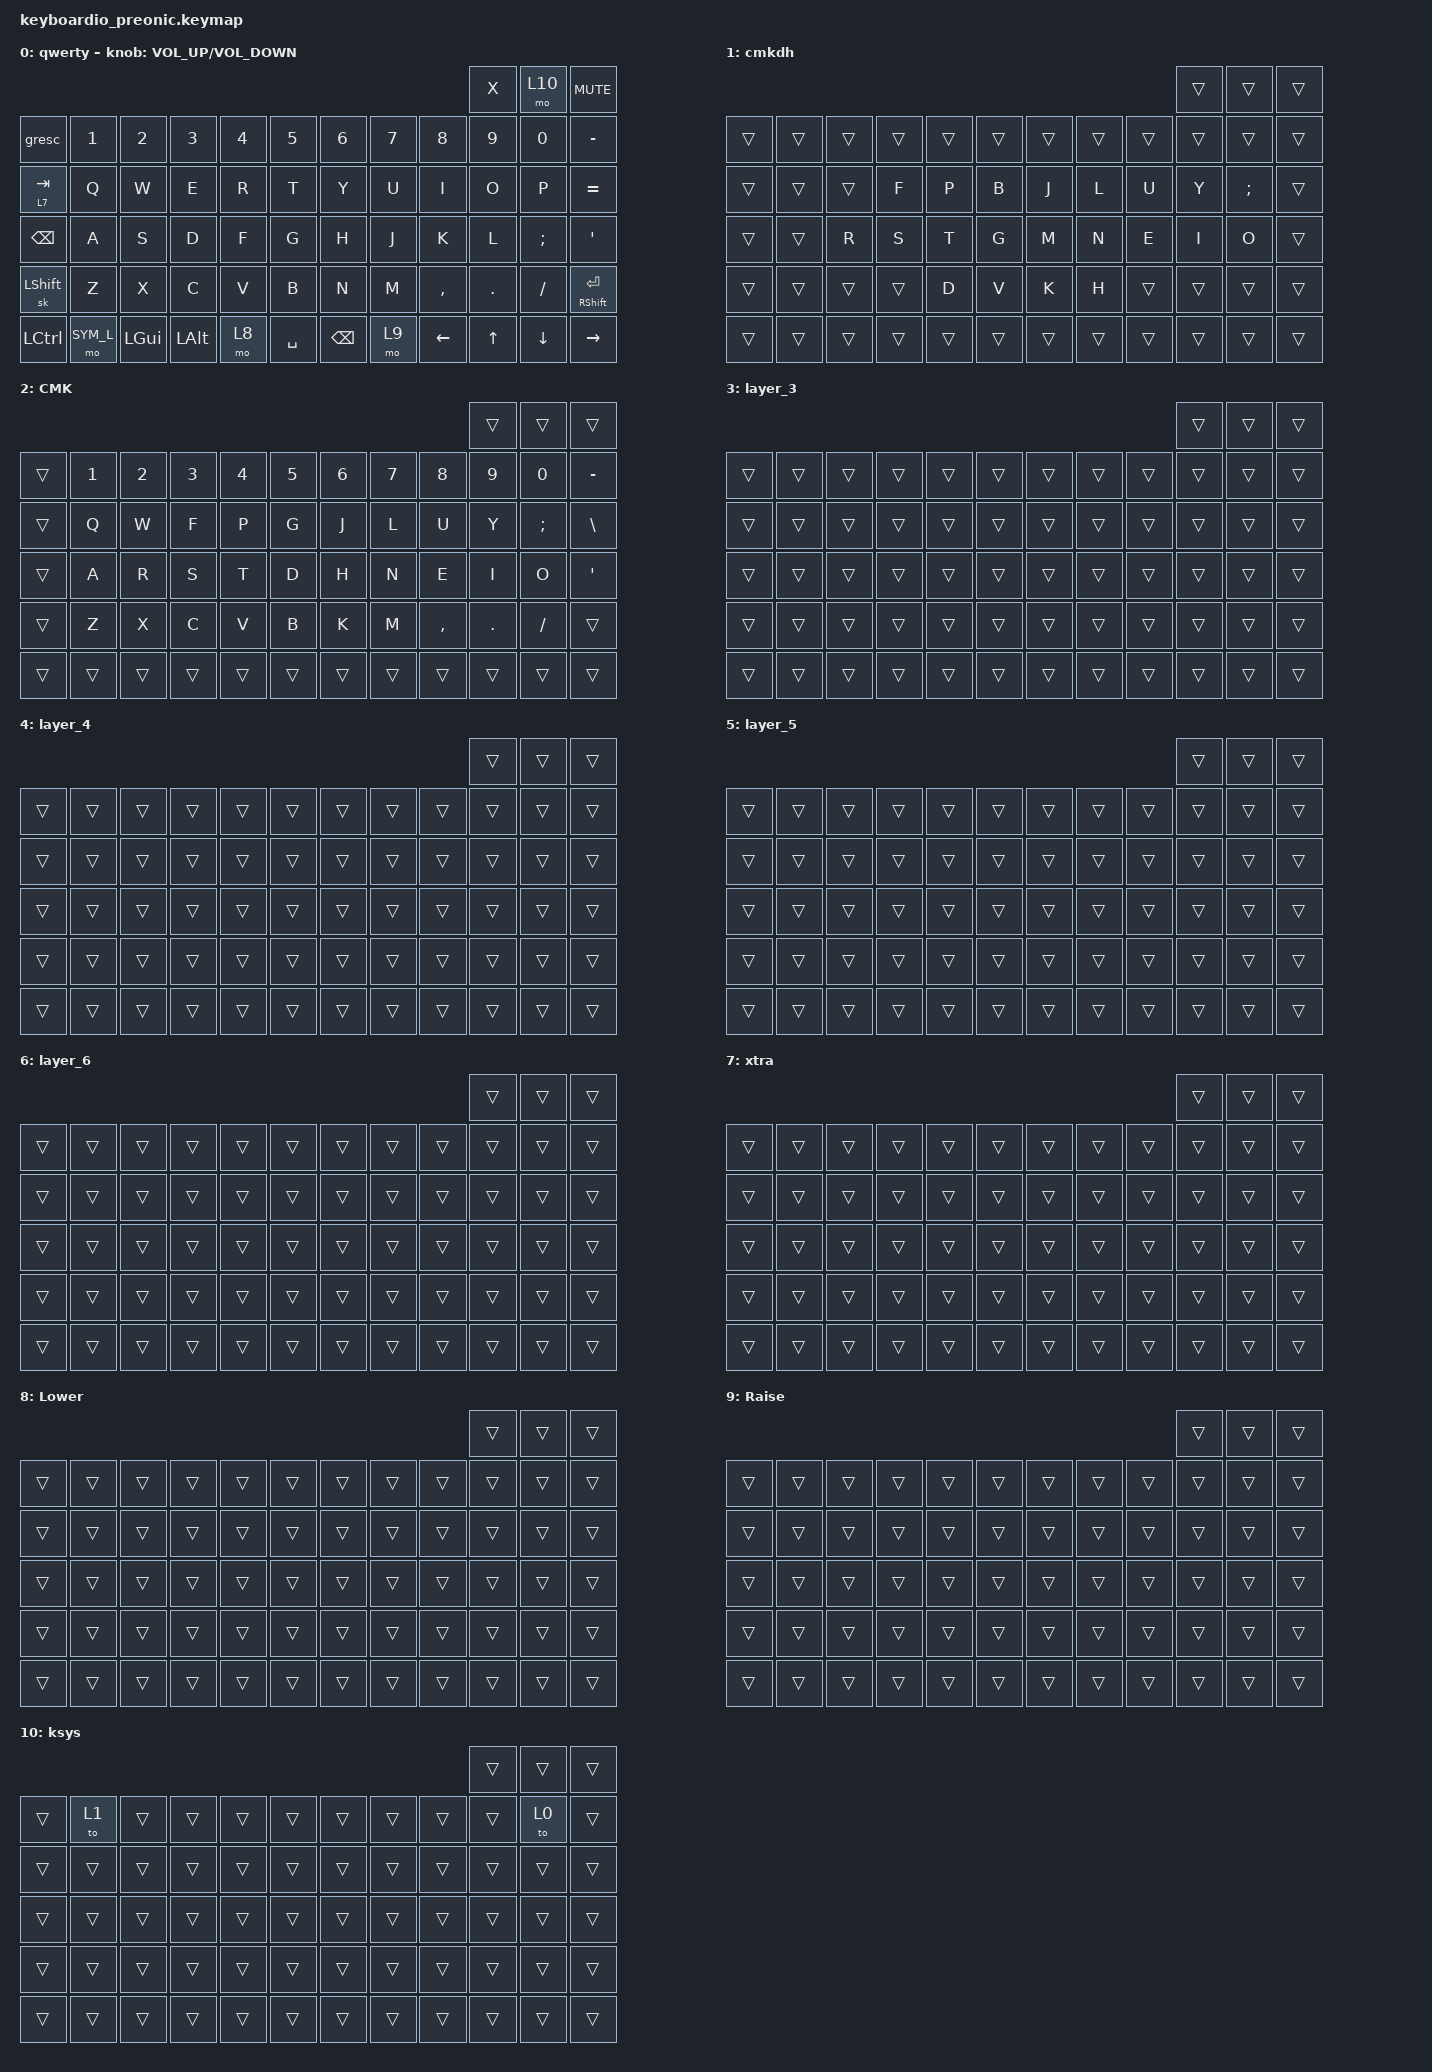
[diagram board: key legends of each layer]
/*
 * Copyright (c) 2022 Pete Johanson
 *
 * SPDX-License-Identifier: MIT
 */

#include <behaviors.dtsi>
#include <dt-bindings/zmk/keys.h>

//#define PREONIC_ORTHO   1
//#define PREONIC_MIT     1

#define NAV_L 1
#define NUM_L 2
#define SYM_L 3

// Using layer taps on thumbs, having quick tap as well helps w/ repeating space/backspace

&lt { quick_tap_ms = <200>; };

#define BT(n) BT_SEL n

/ {
    /*#if defined(PREONIC_ORTHO)
    chosen {
       zmk,matrix_transform = &ortho_transform;
    };
#endif*/
    /*   sensors: sensors {
        compatible = "zmk,keymap-sensors";
        //sensors = <&right_encoder>;
        triggers-per-rotation = <20>;
    };*/

    combos {
        compatible = "zmk,combos";

        rpar {
            bindings = <&kp RPAR>;
            key-positions = <23 22>;
            layers = <1 0 2>;
        };

        lpar {
            bindings = <&kp LPAR>;
            key-positions = <18 19>;
            layers = <0 2 1>;
        };
    };

    keymap {
        compatible = "zmk,keymap";

        qwerty {
            label = "qwerty";
            bindings = <
                                                                                                   &kp X    &mo 10    &kp K_MUTE
&gresc         &kp N1     &kp N2    &kp N3    &kp N4  &kp N5     &kp N6         &kp N7  &kp N8     &kp N9   &kp N0    &kp MINUS
&lt 7 TAB      &kp Q      &kp W     &kp E     &kp R   &kp T      &kp Y          &kp U   &kp I      &kp O    &kp P     &kp EQUAL
&kp BACKSPACE  &kp A      &kp S     &kp D     &kp F   &kp G      &kp H          &kp J   &kp K      &kp L    &kp SEMI  &kp SINGLE_QUOTE
&sk LSHFT      &kp Z      &kp X     &kp C     &kp V   &kp B      &kp N          &kp M   &kp COMMA  &kp DOT  &kp FSLH  &mt RSHIFT RET
&kp LCTRL      &mo SYM_L  &kp LGUI  &kp LALT  &mo 8   &kp SPACE  &kp BACKSPACE  &mo 9   &kp LEFT   &kp UP   &kp DOWN  &kp RIGHT
            >;

            sensor-bindings = <&inc_dec_kp K_VOLUME_UP K_VOLUME_DOWN>;
        };

        CMK-DH {
            bindings = <
                                                                        &trans  &trans    &trans
&trans  &trans  &trans  &trans  &trans  &trans  &trans  &trans  &trans  &trans  &trans    &trans
&trans  &trans  &trans  &kp F   &kp P   &kp B   &kp J   &kp L   &kp U   &kp Y   &kp SEMI  &trans
&trans  &trans  &kp R   &kp S   &kp T   &kp G   &kp M   &kp N   &kp E   &kp I   &kp O     &trans
&trans  &trans  &trans  &trans  &kp D   &kp V   &kp K   &kp H   &trans  &trans  &trans    &trans
&trans  &trans  &trans  &trans  &trans  &trans  &trans  &trans  &trans  &trans  &trans    &trans
            >;

            label = "cmkdh";
        };

        CMK {
            bindings = <
                                                                           &trans   &trans    &trans
&trans  &kp N1  &kp N2  &kp N3  &kp N4  &kp N5  &kp N6  &kp N7  &kp N8     &kp N9   &kp N0    &kp MINUS
&trans  &kp Q   &kp W   &kp F   &kp P   &kp G   &kp J   &kp L   &kp U      &kp Y    &kp SEMI  &kp BSLH
&trans  &kp A   &kp R   &kp S   &kp T   &kp D   &kp H   &kp N   &kp E      &kp I    &kp O     &kp APOS
&trans  &kp Z   &kp X   &kp C   &kp V   &kp B   &kp K   &kp M   &kp COMMA  &kp DOT  &kp FSLH  &trans
&trans  &trans  &trans  &trans  &trans  &trans  &trans  &trans  &trans     &trans   &trans    &trans
            >;

            label = "CMK";
        };

        layer_3 {
            bindings = <
                                                                        &trans  &trans  &trans
&trans  &trans  &trans  &trans  &trans  &trans  &trans  &trans  &trans  &trans  &trans  &trans
&trans  &trans  &trans  &trans  &trans  &trans  &trans  &trans  &trans  &trans  &trans  &trans
&trans  &trans  &trans  &trans  &trans  &trans  &trans  &trans  &trans  &trans  &trans  &trans
&trans  &trans  &trans  &trans  &trans  &trans  &trans  &trans  &trans  &trans  &trans  &trans
&trans  &trans  &trans  &trans  &trans  &trans  &trans  &trans  &trans  &trans  &trans  &trans
            >;
        };

        layer_4 {
            bindings = <
                                                                        &trans  &trans  &trans
&trans  &trans  &trans  &trans  &trans  &trans  &trans  &trans  &trans  &trans  &trans  &trans
&trans  &trans  &trans  &trans  &trans  &trans  &trans  &trans  &trans  &trans  &trans  &trans
&trans  &trans  &trans  &trans  &trans  &trans  &trans  &trans  &trans  &trans  &trans  &trans
&trans  &trans  &trans  &trans  &trans  &trans  &trans  &trans  &trans  &trans  &trans  &trans
&trans  &trans  &trans  &trans  &trans  &trans  &trans  &trans  &trans  &trans  &trans  &trans
            >;
        };

        layer_5 {
            bindings = <
                                                                        &trans  &trans  &trans
&trans  &trans  &trans  &trans  &trans  &trans  &trans  &trans  &trans  &trans  &trans  &trans
&trans  &trans  &trans  &trans  &trans  &trans  &trans  &trans  &trans  &trans  &trans  &trans
&trans  &trans  &trans  &trans  &trans  &trans  &trans  &trans  &trans  &trans  &trans  &trans
&trans  &trans  &trans  &trans  &trans  &trans  &trans  &trans  &trans  &trans  &trans  &trans
&trans  &trans  &trans  &trans  &trans  &trans  &trans  &trans  &trans  &trans  &trans  &trans
            >;
        };

        layer_6 {
            bindings = <
                                                                        &trans  &trans  &trans
&trans  &trans  &trans  &trans  &trans  &trans  &trans  &trans  &trans  &trans  &trans  &trans
&trans  &trans  &trans  &trans  &trans  &trans  &trans  &trans  &trans  &trans  &trans  &trans
&trans  &trans  &trans  &trans  &trans  &trans  &trans  &trans  &trans  &trans  &trans  &trans
&trans  &trans  &trans  &trans  &trans  &trans  &trans  &trans  &trans  &trans  &trans  &trans
&trans  &trans  &trans  &trans  &trans  &trans  &trans  &trans  &trans  &trans  &trans  &trans
            >;
        };

        xtra {
            bindings = <
                                                                        &trans  &trans  &trans
&trans  &trans  &trans  &trans  &trans  &trans  &trans  &trans  &trans  &trans  &trans  &trans
&trans  &trans  &trans  &trans  &trans  &trans  &trans  &trans  &trans  &trans  &trans  &trans
&trans  &trans  &trans  &trans  &trans  &trans  &trans  &trans  &trans  &trans  &trans  &trans
&trans  &trans  &trans  &trans  &trans  &trans  &trans  &trans  &trans  &trans  &trans  &trans
&trans  &trans  &trans  &trans  &trans  &trans  &trans  &trans  &trans  &trans  &trans  &trans
            >;

            label = "xtra";
        };

        lower {
            bindings = <
                                                                        &trans  &trans  &trans
&trans  &trans  &trans  &trans  &trans  &trans  &trans  &trans  &trans  &trans  &trans  &trans
&trans  &trans  &trans  &trans  &trans  &trans  &trans  &trans  &trans  &trans  &trans  &trans
&trans  &trans  &trans  &trans  &trans  &trans  &trans  &trans  &trans  &trans  &trans  &trans
&trans  &trans  &trans  &trans  &trans  &trans  &trans  &trans  &trans  &trans  &trans  &trans
&trans  &trans  &trans  &trans  &trans  &trans  &trans  &trans  &trans  &trans  &trans  &trans
            >;

            label = "Lower";
        };

        raise {
            bindings = <
                                                                        &trans  &trans  &trans
&trans  &trans  &trans  &trans  &trans  &trans  &trans  &trans  &trans  &trans  &trans  &trans
&trans  &trans  &trans  &trans  &trans  &trans  &trans  &trans  &trans  &trans  &trans  &trans
&trans  &trans  &trans  &trans  &trans  &trans  &trans  &trans  &trans  &trans  &trans  &trans
&trans  &trans  &trans  &trans  &trans  &trans  &trans  &trans  &trans  &trans  &trans  &trans
&trans  &trans  &trans  &trans  &trans  &trans  &trans  &trans  &trans  &trans  &trans  &trans
            >;

            label = "Raise";
        };

        k-sys {
            bindings = <
                                                                        &trans  &trans  &trans
&trans  &to 1   &trans  &trans  &trans  &trans  &trans  &trans  &trans  &trans  &to 0   &trans
&trans  &trans  &trans  &trans  &trans  &trans  &trans  &trans  &trans  &trans  &trans  &trans
&trans  &trans  &trans  &trans  &trans  &trans  &trans  &trans  &trans  &trans  &trans  &trans
&trans  &trans  &trans  &trans  &trans  &trans  &trans  &trans  &trans  &trans  &trans  &trans
&trans  &trans  &trans  &trans  &trans  &trans  &trans  &trans  &trans  &trans  &trans  &trans
            >;

            label = "ksys";
        };
    };

    conditional_layers {
        compatible = "zmk,conditional-layers";

        sys {
            if-layers = <7 8>;
            then-layer = <10>;
        };
    };
};
